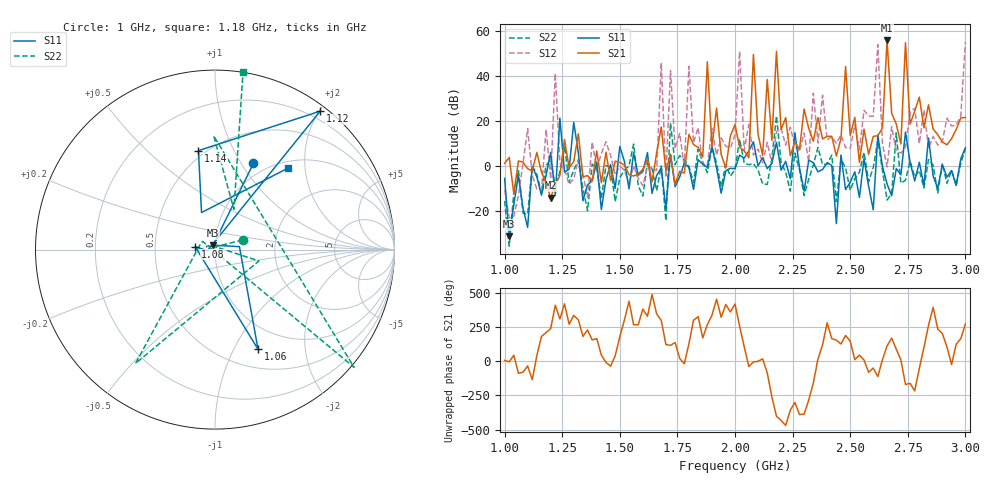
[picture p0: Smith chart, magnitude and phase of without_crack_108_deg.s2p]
# MHz S MA R 50
!  freq  S11  S21  S12  S22
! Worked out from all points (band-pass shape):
!   101 points, 1 GHz to 3 GHz, reference 50 ohm
!   highest |S21| = 55.81 dB at 2.66 GHz (marker M1); lowest = -14.3 dB at 1.2 GHz (marker M2)
!   |S21| within 3 dB of the highest: 2.658463 GHz to 2.661849 GHz (3.386 MHz wide, 0.127 % of centre); 2.739118 GHz to 2.741097 GHz (1.979 MHz wide, 0.0722 % of centre)
!   lowest |S11| = -31.5 dB at 1.02 GHz (marker M3), VSWR 1.05, Z = 48.9 + j2.41 ohm
!   |S11| at or under -10 dB: 1.003 GHz to 1.051 GHz (47.85 MHz wide, 4.66 % of centre); 1.068 GHz to 1.113 GHz (45.18 MHz wide, 4.14 % of centre); 1.152 GHz to 1.167 GHz (14.94 MHz wide, 1.29 % of centre) (the widest 3 of 19)
!   |S22| runs from -35.9 to 22.1 dB; largest |S21 - S12| = 6.2e+02
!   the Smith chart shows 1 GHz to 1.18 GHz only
!   S11 on the Smith chart (normalised r, x): 1 GHz: 0.85, +1.13; 1.06 GHz: 0.72, -1.25; 1.08 GHz: 0.80, +0.03; 1.12 GHz: 0.08, +2.01; 1.14 GHz: 0.46, +0.74; 1.18 GHz: 1.13, +1.63
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1000  0.5263 66.0  1.123 5.9  0.2926 8.7  0.1644 19.1
1020  0.02661 112.2  1.534 -4.1  0.06883 168.0  0.01609 82.8
1060  0.6044 -66.6  1.274 -88.4  0.2174 -56.8  0.7735 -124.9
1080  0.1116 171.6  1.202 -79.8  1.15 137.2  0.08805 163.3
1120  0.9687 52.8  0.7644 -135.6  0.6124 -133.1  1.015 -40.2
1140  0.5592 99.5  1.975 42.1  0.3004 162.7  0.6342 90.7
1180  0.6092 48.1  0.4048 -150.4  6.458 173.6  1.001 81.0
1200  1.982 37.2  0.1922 -121.1  0.5071 179.2  1.409 46.2
1340  0.1647 109.3  0.5614 -177.5  0.6324 -46.2  0.3149 126.1
1680  0.8973 90.5  7.296 -61.6  195.5 117.3  0.9899 91.2
2000  0.8559 105.1  8.266 59.3  4.881 114.0  0.8245 110.8
2340  1.163 157.0  3.501 -158.8  41.42 -166.2  1.042 77.0
2600  0.1044 134.3  4.488 -49.9  12.69 -30.2  0.9042 84.9
2620  4.816 -20.6  4.668 -112.0  497.6 148.4  3.671 80.8
2640  0.9611 26.0  6.903 11.5  3.092 -12.5  0.7872 86.7
2660  0.393 -24.1  617.6 112.3  0.9359 -133.4  0.1712 -49.9
2680  0.2134 -1.6  14.73 169.3  7.435 177.7  0.2394 9.4
2720  0.6248 125.8  3.048 10.0  1.904 -133.0  0.4095 6.9
2740  5.615 50.4  549.8 -169.8  2.603 -77.2  0.4742 137.9
2760  1.186 177.5  8.438 -162.1  15.72 -137.9  1.252 178.3
2980  1.418 92.8  11.57 165.1  12.8 -47.2  1.141 84.1
3000  2.514 -86.2  11.87 -87.0  572.5 -164.9  2.336 -70.7
